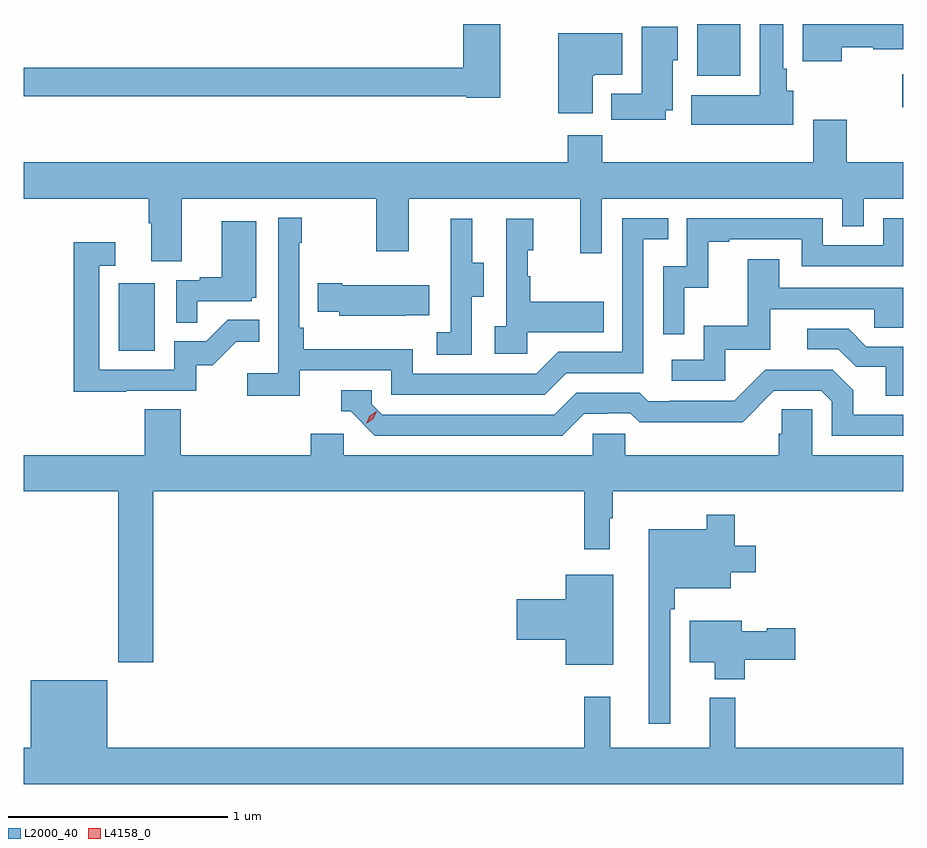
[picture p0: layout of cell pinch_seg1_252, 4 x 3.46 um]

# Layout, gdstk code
import gdstk
lib = gdstk.Library(unit=1e-6, precision=1e-09)
def R(c, l, rs):  # rectangles x0, y0, x1, y1
    for r in rs: c.add(gdstk.rectangle(r[:2], r[2:], *l))
def P(c, l, *ps):  # polygons
    for p in ps: c.add(gdstk.Polygon(p, *l))
L2000_40 = (2000, 40)
L4158_0 = (4158, 0)

pinch_seg1_252 = lib.new_cell('pinch_seg1_252')
R(pinch_seg1_252, L2000_40, [(939.656,579.012,939.82,579.319), (943.22,580.119,943.224,580.269), (942.287,580.262,942.484,580.498)])
P(pinch_seg1_252, L2000_40, [(942.946,580.392),(943.089,580.392),(943.089,580.384),(943.224,580.384),(943.224,580.498),(942.767,580.498),(942.767,580.328),(942.946,580.328)],
  [(942.724,580.194),(942.694,580.194),(942.694,580.294),(942.679,580.294),(942.679,580.498),(942.572,580.498),(942.572,580.174),(942.26,580.174),(942.26,580.04),(942.724,580.04)],
  [(941.392,580.498),(941.222,580.498),(941.222,580.298),(939.224,580.298),(939.224,580.17),(941.238,580.17),(941.238,580.162),(941.392,580.162)],
  [(942.145,580.106),(942.175,580.106),(942.175,580.332),(942.199,580.332),(942.199,580.486),(942.035,580.486),(942.035,580.18),(941.897,580.18),(941.897,580.062),(942.145,580.062)],
  [(941.812,580.262),(941.818,580.262),(941.818,580.268),(941.947,580.268),(941.947,580.456),(941.654,580.456),(941.654,580.092),(941.812,580.092)],
  [(939.943,579.704),(940.828,579.704),(940.828,579.465),(940.975,579.465),(940.975,579.704),(941.756,579.704),(941.756,579.456),(941.853,579.456),(941.853,579.704),(942.948,579.704),(942.948,579.577),(943.044,579.577),(943.044,579.704),(943.224,579.704),(943.224,579.868),(942.968,579.868),(942.968,580.063),(942.815,580.063),(942.815,579.868),(941.855,579.868),(941.855,579.992),(941.699,579.992),(941.699,579.868),(939.224,579.868),(939.224,579.704),(939.791,579.704),(939.791,579.592),(939.803,579.592),(939.803,579.418),(939.943,579.418)],
  [(940.478,578.922),(940.896,578.922),(940.896,578.811),(941.593,578.811),(941.692,578.91),(942.042,578.91),(942.042,579.519),(942.155,579.519),(942.155,579.615),(941.946,579.615),(941.946,579.006),(941.655,579.006),(941.556,578.907),(940.992,578.907),(940.992,579.019),(940.496,579.019),(940.496,579.115),(940.476,579.115),(940.476,579.503),(940.489,579.503),(940.489,579.616),(940.38,579.616),(940.38,578.908),(940.239,578.908),(940.239,578.806),(940.478,578.806)],
  [(942.228,579.299),(942.338,579.299),(942.338,579.507),(942.433,579.507),(942.433,579.519),(942.762,579.519),(942.762,579.396),(943.224,579.396),(943.224,579.615),(943.134,579.615),(943.134,579.492),(942.858,579.492),(942.858,579.615),(942.24,579.615),(942.24,579.396),(942.132,579.396),(942.132,579.087),(942.228,579.087)],
  [(941.262,579.256),(941.317,579.256),(941.317,579.411),(941.263,579.411),(941.263,579.613),(941.165,579.613),(941.165,579.399),(941.166,579.399),(941.166,579.095),(941.103,579.095),(941.103,578.992),(941.262,578.992)],
  [(941.514,579.095),(941.861,579.095),(941.861,579.235),(941.527,579.235),(941.527,579.35),(941.517,579.35),(941.517,579.468),(941.542,579.468),(941.542,579.613),(941.418,579.613),(941.418,579.122),(941.367,579.122),(941.367,578.997),(941.514,578.997)],
  [(940.013,579.237),(940.26,579.237),(940.26,579.252),(940.282,579.252),(940.282,579.601),(940.124,579.601),(940.124,579.346),(940.025,579.346),(940.025,579.333),(939.918,579.333),(939.918,579.139),(940.013,579.139)],
  [(939.689,578.829),(940.008,578.829),(940.008,578.946),(940.084,578.946),(940.191,579.053),(940.295,579.053),(940.295,579.152),(940.151,579.152),(940.053,579.054),(939.909,579.054),(939.909,578.925),(939.567,578.925),(939.567,579.399),(939.64,579.399),(939.64,579.505),(939.451,579.505),(939.451,578.824),(939.689,578.824)],
  [(942.414,579.015),(942.619,579.015),(942.619,579.201),(943.093,579.201),(943.093,579.117),(943.224,579.117),(943.224,579.297),(942.661,579.297),(942.661,579.427),(942.517,579.427),(942.517,579.124),(942.318,579.124),(942.318,578.97),(942.171,578.97),(942.171,578.874),(942.414,578.874)],
  [(940.961,579.173),(941.069,579.173),(941.069,579.31),(940.672,579.31),(940.672,579.318),(940.561,579.318),(940.561,579.188),(940.659,579.188),(940.659,579.17),(940.961,579.17)],
  [(943.224,579.03),(943.057,579.03),(942.976,579.111),(942.789,579.111),(942.789,579.018),(942.93,579.018),(943.01,578.938),(943.145,578.938),(943.145,578.806),(943.224,578.806)],
  [(941.773,578.724),(941.88,578.724),(941.88,578.727),(941.983,578.727),(942.025,578.685),(942.258,578.685),(942.258,578.687),(942.494,578.687),(942.636,578.829),(942.852,578.829),(942.9,578.781),(942.9,578.625),(943.224,578.625),(943.224,578.721),(942.997,578.721),(942.997,578.831),(942.903,578.925),(942.597,578.925),(942.456,578.784),(942.163,578.784),(942.163,578.781),(942.064,578.781),(942.025,578.82),(941.736,578.82),(941.637,578.721),(940.854,578.721),(940.806,578.769),(940.806,578.832),(940.667,578.832),(940.667,578.736),(940.71,578.736),(940.821,578.625),(941.674,578.625)],
  [(939.812,578.372),(941.773,578.372),(941.773,578.109),(941.89,578.109),(941.89,578.249),(941.902,578.249),(941.902,578.372),(943.224,578.372),(943.224,578.536),(942.81,578.536),(942.81,578.744),(942.673,578.744),(942.673,578.634),(942.659,578.634),(942.659,578.536),(941.961,578.536),(941.961,578.634),(941.811,578.634),(941.811,578.536),(940.68,578.536),(940.68,578.634),(940.529,578.634),(940.529,578.536),(939.938,578.536),(939.938,578.744),(939.773,578.744),(939.773,578.536),(939.224,578.536),(939.224,578.372),(939.652,578.372),(939.652,577.593),(939.812,577.593)],
  [(942.165,577.835),(942.185,577.835),(942.185,577.931),(942.439,577.931),(942.439,578.003),(942.553,578.003),(942.553,578.125),(942.458,578.125),(942.458,578.266),(942.33,578.266),(942.33,578.2),(942.068,578.2),(942.068,577.314),(942.165,577.314)],
  [(941.905,577.993),(941.69,577.993),(941.69,577.88),(941.466,577.88),(941.466,577.697),(941.69,577.697),(941.69,577.583),(941.905,577.583)],
  [(942.503,577.606),(942.733,577.606),(942.733,577.748),(942.603,577.748),(942.603,577.735),(942.49,577.735),(942.49,577.783),(942.254,577.783),(942.254,577.595),(942.368,577.595),(942.368,577.517),(942.503,577.517)],
  [(943.224,577.204),(942.461,577.204),(942.461,577.432),(942.344,577.432),(942.344,577.204),(941.891,577.204),(941.891,577.438),(941.773,577.438),(941.773,577.204),(939.604,577.204),(939.604,577.513),(939.254,577.513),(939.254,577.204),(939.224,577.204),(939.224,577.04),(943.224,577.04)])
P(pinch_seg1_252, L4158_0, [(940.783,578.682),(940.783,578.683),(940.798,578.716),(940.829,578.736),(940.829,578.736),(940.829,578.736),(940.814,578.703),(940.783,578.682)])

lib.write_gds('pinch_seg1_252.gds')
